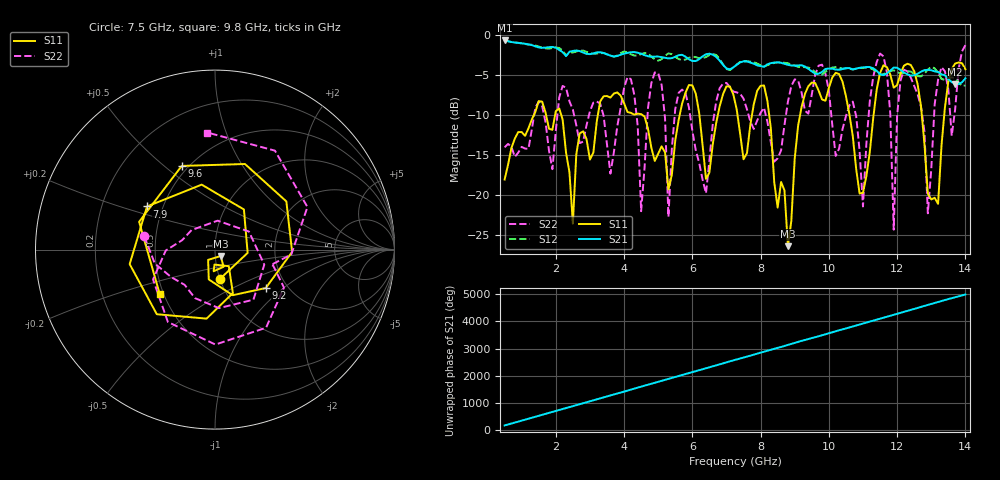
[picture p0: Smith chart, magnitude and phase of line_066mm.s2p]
!Created with skrf (http://scikit-rf.org).
# GHz S RI R 50.0
!freq ReS11 ImS11 ReS21 ImS21 ReS12 ImS12 ReS22 ImS22
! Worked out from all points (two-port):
!   136 points, 500 MHz to 14 GHz, reference 50 ohm
!   highest |S21| = -0.67 dB at 500 MHz (marker M1); lowest = -6.1 dB at 13.7 GHz (marker M2)
!   |S21| within 3 dB of the highest: start of sweep to 6.894 GHz; 8.192 GHz to 8.758 GHz (566.3 MHz wide, 6.68 % of centre)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
!   lowest |S11| = -26.4 dB at 8.8 GHz (marker M3), VSWR 1.10, Z = 53.2 - j3.82 ohm
!   |S11| at or under -10 dB: start of sweep to 1.356 GHz; 2.16 GHz to 3.232 GHz (1.072 GHz wide, 39.8 % of centre); 4.54 GHz to 5.629 GHz (1.089 GHz wide, 21.4 % of centre)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
!   |S22| runs from -24.3 to -1.3 dB; largest |S21 - S12| = 0.056
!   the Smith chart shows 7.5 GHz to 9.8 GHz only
!   S11 on the Smith chart (normalised r, x): 7.5 GHz: 0.99, -0.34; 7.9 GHz: 0.41, +0.25; 9.2 GHz: 1.56, -0.76; 9.6 GHz: 0.46, +0.57; 9.8 GHz: 0.48, -0.28
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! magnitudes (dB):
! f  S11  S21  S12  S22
! 500 MHz  -18.0  -0.7  -0.7  -14.0
! 2.8 GHz  -12.0  -2.2  -1.9  -13.3
! 4.2 GHz  -9.7  -2.1  -2.4  -5.5
! 4.5 GHz  -9.9  -2.3  -2.4  -22.0
! 5 GHz  -14.8  -2.7  -3.2  -4.8
! 5.3 GHz  -19.3  -2.9  -2.3  -22.7
! 7.3 GHz  -9.3  -3.7  -3.7  -7.2
! 7.5 GHz  -15.5  -3.3  -3.3  -7.9
! 7.9 GHz  -7.0  -3.8  -3.6  -10.7
! 8.8 GHz  -26.4  -3.7  -3.5  -8.3
! 9.2 GHz  -9.0  -3.8  -4.0  -7.2
! 9.5 GHz  -5.9  -4.5  -4.2  -7.4
! 9.6 GHz  -6.0  -4.8  -4.7  -4.9
! 9.8 GHz  -8.0  -4.6  -4.9  -3.7
! 11 GHz  -19.7  -4.0  -4.1  -21.4
! 11.8 GHz  -4.9  -4.4  -4.5  -9.9
! 11.9 GHz  -6.6  -4.1  -4.4  -24.3
! 12.2 GHz  -3.8  -4.7  -4.7  -4.3
! 12.9 GHz  -19.8  -4.3  -4.3  -22.3
! 13.2 GHz  -21.1  -4.6  -4.7  -5.6
! 13.7 GHz  -3.5  -6.1  -5.4  -9.3
! 14 GHz  -4.3  -5.4  -6.3  -1.3
